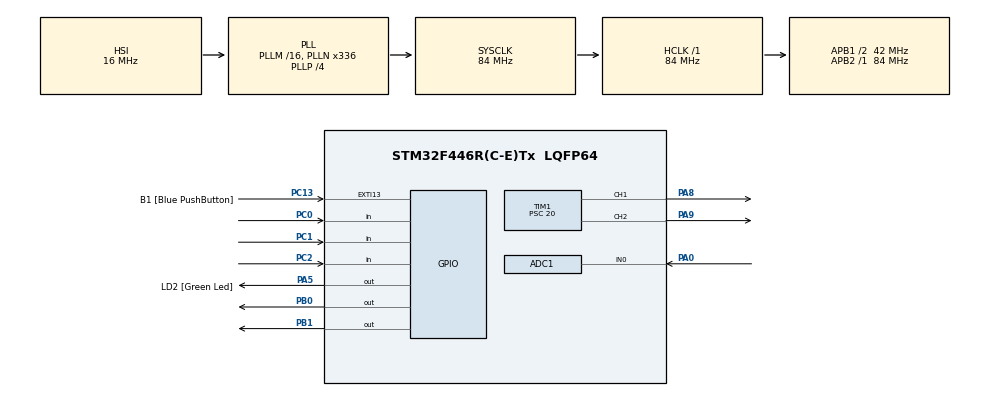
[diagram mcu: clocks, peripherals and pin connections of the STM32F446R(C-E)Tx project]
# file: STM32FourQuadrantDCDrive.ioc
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ADC1.Channel-0\#ChannelRegularConversion=ADC_CHANNEL_0
ADC1.ContinuousConvMode=ENABLE
ADC1.NbrOfConversionFlag=1
ADC1.Rank-0\#ChannelRegularConversion=1
ADC1.SamplingTime-0\#ChannelRegularConversion=ADC_SAMPLETIME_3CYCLES
ADC1.master=1
Mcu.Family=STM32F4
Mcu.Name=STM32F446R(C-E)Tx
Mcu.Package=LQFP64
NVIC.PriorityGroup=NVIC_PRIORITYGROUP_0
PA0-WKUP.Signal=ADCx_IN0
PA13.GPIO_Label=TMS
PA13.Signal=SYS_JTMS-SWDIO
PA14.GPIO_Label=TCK
PA14.Signal=SYS_JTCK-SWCLK
PA2.GPIO_Label=USART_TX
PA2.Signal=USART2_TX
PA3.GPIO_Label=USART_RX
PA3.Signal=USART2_RX
PA5.GPIO_Label=LD2 [Green Led]
PA5.Signal=GPIO_Output
PA8.Signal=S_TIM1_CH1
PA9.Signal=S_TIM1_CH2
PB0.PinState=GPIO_PIN_SET
PB0.Signal=GPIO_Output
PB1.PinState=GPIO_PIN_SET
PB1.Signal=GPIO_Output
PB3.GPIO_Label=SWO
PB3.Signal=SYS_JTDO-SWO
PC0.GPIO_PuPd=GPIO_PULLUP
PC0.Signal=GPIO_Input
PC1.GPIO_PuPd=GPIO_PULLUP
PC1.Signal=GPIO_Input
PC13.GPIO_Label=B1 [Blue PushButton]
PC13.GPIO_ModeDefaultEXTI=GPIO_MODE_IT_FALLING
PC13.Signal=GPXTI13
PC14-OSC32_IN.Signal=RCC_OSC32_IN
PC15-OSC32_OUT.Signal=RCC_OSC32_OUT
PC2.GPIO_PuPd=GPIO_PULLUP
PC2.Signal=GPIO_Input
PH0-OSC_IN.Signal=RCC_OSC_IN
PH1-OSC_OUT.Signal=RCC_OSC_OUT
ProjectManager.HeapSize=0x200
ProjectManager.StackSize=0x400
ProjectManager.TargetToolchain=STM32CubeIDE
RCC.AHBFreq_Value=84000000
RCC.APB1CLKDivider=RCC_HCLK_DIV2
RCC.APB1Freq_Value=42000000
RCC.APB1TimFreq_Value=84000000
RCC.APB2Freq_Value=84000000
RCC.APB2TimFreq_Value=84000000
RCC.CortexFreq_Value=84000000
RCC.FLatency-AdvancedSettings=FLASH_LATENCY_2
RCC.HCLKFreq_Value=84000000
RCC.HSE_VALUE=8000000
RCC.HSI_VALUE=16000000
RCC.LSE_VALUE=32768
RCC.PLLN=336
RCC.PLLP=RCC_PLLP_DIV4
RCC.SYSCLKFreq_VALUE=84000000
RCC.SYSCLKSource=RCC_SYSCLKSOURCE_PLLCLK
RCC.USBFreq_Value=168000000
RCC.VCOOutputFreq_Value=336000000
SH.ADCx_IN0.0=ADC1_IN0,IN0
SH.S_TIM1_CH1.0=TIM1_CH1,PWM Generation1 CH1
SH.S_TIM1_CH2.0=TIM1_CH2,PWM Generation2 CH2
TIM1.Channel-PWM\ Generation1\ CH1=TIM_CHANNEL_1
TIM1.Channel-PWM\ Generation2\ CH2=TIM_CHANNEL_2
TIM1.Prescaler=20
VP_TIM1_VS_ClockSourceINT.Mode=Internal
board=NUCLEO-F446RE

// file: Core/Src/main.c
/* USER CODE BEGIN Header */
/**
 ******************************************************************************
 * @file           : main.c
 * @brief          : Main program body
 ******************************************************************************
 * @attention
 *
 * Copyright (c) 2026 STMicroelectronics.
 * All rights reserved.
 *
 * This software is licensed under terms that can be found in the LICENSE file
 * in the root directory of this software component.
 * If no LICENSE file comes with this software, it is provided AS-IS.
 *
 ******************************************************************************
 */
/* USER CODE END Header */

#include "main.h"

/* USER CODE BEGIN Includes */
#include <stdbool.h>
/* USER CODE END Includes */

/* USER CODE BEGIN PTD */
typedef enum {
    STOP = 0,
    FORWARD,
    REVERSE
} Direction;
/* USER CODE END PTD */

/* USER CODE BEGIN PD */
#define DEADTIME_US      100U
#define SAFETY_DELAY     500U
#define DEBOUNCE_DELAY   200U
/* USER CODE END PD */

ADC_HandleTypeDef hadc1;
TIM_HandleTypeDef htim1;

/* USER CODE BEGIN PV */
Direction currentDir = STOP;
bool isRunning = false;

uint32_t pwmVal = 0;
uint32_t lastDebounce = 0;
/* USER CODE END PV */

void SystemClock_Config(void);
static void MX_GPIO_Init(void);
static void MX_ADC1_Init(void);
static void MX_TIM1_Init(void);

/* USER CODE BEGIN PFP */
void delay_us(uint16_t us);
uint32_t readADC(void);
void runForward(uint32_t pwm);
void runReverse(uint32_t pwm);
void stopMotor(void);
void applyBrake(void);
void loop_logic(void);
/* USER CODE END PFP */

/* USER CODE BEGIN 0 */

/* ----------- MICROSECOND DELAY ----------- */
void delay_us(uint16_t us)
{
    uint32_t start = DWT->CYCCNT;
    uint32_t ticks = us * (HAL_RCC_GetHCLKFreq() / 1000000U);

    while ((DWT->CYCCNT - start) < ticks)
    {
    }
}

/* ----------- ADC READ ----------- */
/* Reads a fresh ADC conversion (0–4095) */
uint32_t readADC(void)
{
    /* Ensure a new conversion is ready */
    HAL_ADC_PollForConversion(&hadc1, 10);
    return HAL_ADC_GetValue(&hadc1);
}

/* ----------- MOTOR FUNCTIONS ----------- */

void runForward(uint32_t pwm)
{
    /* Clamp just in case */
    if (pwm > 4095U) pwm = 4095U;

    __HAL_TIM_SET_COMPARE(&htim1, TIM_CHANNEL_2, 0U);      // INBHI LOW
    HAL_GPIO_WritePin(GPIOB, GPIO_PIN_0, GPIO_PIN_RESET);  // INALO LOW

    __HAL_TIM_SET_COMPARE(&htim1, TIM_CHANNEL_1, pwm);     // INAHI PWM
    HAL_GPIO_WritePin(GPIOB, GPIO_PIN_1, GPIO_PIN_SET);    // INBLO HIGH
}

void runReverse(uint32_t pwm)
{
    /* Clamp just in case */
    if (pwm > 4095U) pwm = 4095U;

    __HAL_TIM_SET_COMPARE(&htim1, TIM_CHANNEL_1, 0U);      // INAHI LOW
    HAL_GPIO_WritePin(GPIOB, GPIO_PIN_1, GPIO_PIN_RESET);  // INBLO LOW

    __HAL_TIM_SET_COMPARE(&htim1, TIM_CHANNEL_2, pwm);     // INBHI PWM
    HAL_GPIO_WritePin(GPIOB, GPIO_PIN_0, GPIO_PIN_SET);    // INALO HIGH
}

void stopMotor(void)
{
    __HAL_TIM_SET_COMPARE(&htim1, TIM_CHANNEL_1, 0U);
    __HAL_TIM_SET_COMPARE(&htim1, TIM_CHANNEL_2, 0U);

    HAL_GPIO_WritePin(GPIOB, GPIO_PIN_0, GPIO_PIN_RESET);
    HAL_GPIO_WritePin(GPIOB, GPIO_PIN_1, GPIO_PIN_RESET);

    delay_us(DEADTIME_US);
}

void applyBrake(void)
{
    /* Same behavior as your design: all OFF + 500 ms */
    stopMotor();
    HAL_Delay(500U);
}

/* ----------- MAIN CONTROL LOGIC ----------- */
void loop_logic(void)
{
    pwmVal = readADC();   // 0–4095 full-scale STM32 ADC

    /* -------- FORWARD BUTTON -------- */
    if ((HAL_GPIO_ReadPin(GPIOC, GPIO_PIN_0) == GPIO_PIN_RESET) &&
        ((HAL_GetTick() - lastDebounce) > DEBOUNCE_DELAY))
    {
        lastDebounce = HAL_GetTick();

        if (currentDir != FORWARD)
        {
            stopMotor();
            HAL_Delay(SAFETY_DELAY);
            currentDir = FORWARD;
            isRunning = true;
        }
        else
        {
            currentDir = STOP;
            isRunning = false;
            stopMotor();
        }
    }

    /* -------- REVERSE BUTTON -------- */
    if ((HAL_GPIO_ReadPin(GPIOC, GPIO_PIN_1) == GPIO_PIN_RESET) &&
        ((HAL_GetTick() - lastDebounce) > DEBOUNCE_DELAY))
    {
        lastDebounce = HAL_GetTick();

        if (currentDir != REVERSE)
        {
            stopMotor();
            HAL_Delay(SAFETY_DELAY);
            currentDir = REVERSE;
            isRunning = true;
        }
        else
        {
            currentDir = STOP;
            isRunning = false;
            stopMotor();
        }
    }

    /* -------- BRAKE BUTTON -------- */
    if ((HAL_GPIO_ReadPin(GPIOC, GPIO_PIN_2) == GPIO_PIN_RESET) &&
        ((HAL_GetTick() - lastDebounce) > DEBOUNCE_DELAY))
    {
        lastDebounce = HAL_GetTick();

        applyBrake();
        currentDir = STOP;
        isRunning = false;
    }

    /* -------- CONTROL -------- */
    if (isRunning)
    {
        if (currentDir == FORWARD)
        {
            runForward(pwmVal);
        }
        else if (currentDir == REVERSE)
        {
            runReverse(pwmVal);
        }
    }
    else
    {
        stopMotor();
    }
}

/* USER CODE END 0 */

int main(void)
{

    /* MCU Configuration--------------------------------------------------------*/

    /* Reset of all peripherals, Initializes the Flash interface and the Systick. */
    HAL_Init();

    /* Configure the system clock */
    SystemClock_Config();

    /* Initialize all configured peripherals */
    MX_GPIO_Init();
    MX_ADC1_Init();
    MX_TIM1_Init();

    /* USER CODE BEGIN 2 */

    /* Start PWM outputs */
    HAL_TIM_PWM_Start(&htim1, TIM_CHANNEL_1);
    HAL_TIM_PWM_Start(&htim1, TIM_CHANNEL_2);

    /* Start ADC in continuous conversion mode */
    HAL_ADC_Start(&hadc1);

    /* Enable DWT cycle counter for microsecond delay */
    CoreDebug->DEMCR |= CoreDebug_DEMCR_TRCENA_Msk;
    DWT->CYCCNT = 0U;
    DWT->CTRL |= DWT_CTRL_CYCCNTENA_Msk;

    /* Safe OFF state at startup */
    stopMotor();

    /* USER CODE END 2 */

    /* Infinite loop */
    /* USER CODE BEGIN WHILE */
    while (1)
    {
        loop_logic();
        /* USER CODE END WHILE */

    }
}

void SystemClock_Config(void)
{
    RCC_OscInitTypeDef RCC_OscInitStruct = {0};
    RCC_ClkInitTypeDef RCC_ClkInitStruct = {0};

    /** Configure the main internal regulator output voltage
     */
    __HAL_RCC_PWR_CLK_ENABLE();
    __HAL_PWR_VOLTAGESCALING_CONFIG(PWR_REGULATOR_VOLTAGE_SCALE3);

    /** Initializes the RCC Oscillators according to the specified parameters
     * in the RCC_OscInitTypeDef structure.
     */
    RCC_OscInitStruct.OscillatorType = RCC_OSCILLATORTYPE_HSI;
    RCC_OscInitStruct.HSIState = RCC_HSI_ON;
    RCC_OscInitStruct.HSICalibrationValue = RCC_HSICALIBRATION_DEFAULT;
    RCC_OscInitStruct.PLL.PLLState = RCC_PLL_ON;
    RCC_OscInitStruct.PLL.PLLSource = RCC_PLLSOURCE_HSI;
    RCC_OscInitStruct.PLL.PLLM = 16;
    RCC_OscInitStruct.PLL.PLLN = 336;
    RCC_OscInitStruct.PLL.PLLP = RCC_PLLP_DIV4;
    RCC_OscInitStruct.PLL.PLLQ = 2;
    RCC_OscInitStruct.PLL.PLLR = 2;

    if (HAL_RCC_OscConfig(&RCC_OscInitStruct) != HAL_OK)
    {
        Error_Handler();
    }

    /** Initializes the CPU, AHB and APB buses clocks
     */
    RCC_ClkInitStruct.ClockType = RCC_CLOCKTYPE_HCLK | RCC_CLOCKTYPE_SYSCLK
                                | RCC_CLOCKTYPE_PCLK1 | RCC_CLOCKTYPE_PCLK2;
    RCC_ClkInitStruct.SYSCLKSource = RCC_SYSCLKSOURCE_PLLCLK;
    RCC_ClkInitStruct.AHBCLKDivider = RCC_SYSCLK_DIV1;
    RCC_ClkInitStruct.APB1CLKDivider = RCC_HCLK_DIV2;
    RCC_ClkInitStruct.APB2CLKDivider = RCC_HCLK_DIV1;

    if (HAL_RCC_ClockConfig(&RCC_ClkInitStruct, FLASH_LATENCY_2) != HAL_OK)
    {
        Error_Handler();
    }
}

static void MX_ADC1_Init(void)
{
    ADC_ChannelConfTypeDef sConfig = {0};

    /** Configure the global features of the ADC
     */
    hadc1.Instance = ADC1;
    hadc1.Init.ClockPrescaler = ADC_CLOCK_SYNC_PCLK_DIV4;
    hadc1.Init.Resolution = ADC_RESOLUTION_12B;
    hadc1.Init.ScanConvMode = DISABLE;
    hadc1.Init.ContinuousConvMode = ENABLE;
    hadc1.Init.DiscontinuousConvMode = DISABLE;
    hadc1.Init.ExternalTrigConvEdge = ADC_EXTERNALTRIGCONVEDGE_NONE;
    hadc1.Init.ExternalTrigConv = ADC_SOFTWARE_START;
    hadc1.Init.DataAlign = ADC_DATAALIGN_RIGHT;
    hadc1.Init.NbrOfConversion = 1;
    hadc1.Init.DMAContinuousRequests = DISABLE;
    hadc1.Init.EOCSelection = ADC_EOC_SINGLE_CONV;

    if (HAL_ADC_Init(&hadc1) != HAL_OK)
    {
        Error_Handler();
    }

    /** Configure ADC regular channel
     */
    sConfig.Channel = ADC_CHANNEL_0;
    sConfig.Rank = 1;
    sConfig.SamplingTime = ADC_SAMPLETIME_15CYCLES;   // <-- Revised for pot stability

    if (HAL_ADC_ConfigChannel(&hadc1, &sConfig) != HAL_OK)
    {
        Error_Handler();
    }
}

static void MX_TIM1_Init(void)
{
    TIM_ClockConfigTypeDef sClockSourceConfig = {0};
    TIM_MasterConfigTypeDef sMasterConfig = {0};
    TIM_OC_InitTypeDef sConfigOC = {0};
    TIM_BreakDeadTimeConfigTypeDef sBreakDeadTimeConfig = {0};

    htim1.Instance = TIM1;
    htim1.Init.Prescaler = 20;              // ~1 kHz PWM with ARR = 4095
    htim1.Init.CounterMode = TIM_COUNTERMODE_UP;
    htim1.Init.Period = 4095;               // 12-bit PWM resolution
    htim1.Init.ClockDivision = TIM_CLOCKDIVISION_DIV1;
    htim1.Init.RepetitionCounter = 0;
    htim1.Init.AutoReloadPreload = TIM_AUTORELOAD_PRELOAD_DISABLE;

    if (HAL_TIM_Base_Init(&htim1) != HAL_OK)
    {
        Error_Handler();
    }

    sClockSourceConfig.ClockSource = TIM_CLOCKSOURCE_INTERNAL;
    if (HAL_TIM_ConfigClockSource(&htim1, &sClockSourceConfig) != HAL_OK)
    {
        Error_Handler();
    }

    if (HAL_TIM_PWM_Init(&htim1) != HAL_OK)
    {
        Error_Handler();
    }

    sMasterConfig.MasterOutputTrigger = TIM_TRGO_RESET;
    sMasterConfig.MasterSlaveMode = TIM_MASTERSLAVEMODE_DISABLE;
    if (HAL_TIMEx_MasterConfigSynchronization(&htim1, &sMasterConfig) != HAL_OK)
    {
        Error_Handler();
    }

    sConfigOC.OCMode = TIM_OCMODE_PWM1;
    sConfigOC.Pulse = 0U;
    sConfigOC.OCPolarity = TIM_OCPOLARITY_HIGH;
    sConfigOC.OCNPolarity = TIM_OCNPOLARITY_HIGH;
    sConfigOC.OCFastMode = TIM_OCFAST_DISABLE;
    sConfigOC.OCIdleState = TIM_OCIDLESTATE_RESET;
    sConfigOC.OCNIdleState = TIM_OCNIDLESTATE_RESET;

    if (HAL_TIM_PWM_ConfigChannel(&htim1, &sConfigOC, TIM_CHANNEL_1) != HAL_OK)
    {
        Error_Handler();
    }

    if (HAL_TIM_PWM_ConfigChannel(&htim1, &sConfigOC, TIM_CHANNEL_2) != HAL_OK)
    {
        Error_Handler();
    }

    /* We are using software dead-time, not hardware complementary mode */
    sBreakDeadTimeConfig.OffStateRunMode = TIM_OSSR_DISABLE;
    sBreakDeadTimeConfig.OffStateIDLEMode = TIM_OSSI_DISABLE;
    sBreakDeadTimeConfig.LockLevel = TIM_LOCKLEVEL_OFF;
    sBreakDeadTimeConfig.DeadTime = 0U;
    sBreakDeadTimeConfig.BreakState = TIM_BREAK_DISABLE;
    sBreakDeadTimeConfig.BreakPolarity = TIM_BREAKPOLARITY_HIGH;
    sBreakDeadTimeConfig.AutomaticOutput = TIM_AUTOMATICOUTPUT_DISABLE;

    if (HAL_TIMEx_ConfigBreakDeadTime(&htim1, &sBreakDeadTimeConfig) != HAL_OK)
    {
        Error_Handler();
    }

    HAL_TIM_MspPostInit(&htim1);
}

static void MX_GPIO_Init(void)
{
    GPIO_InitTypeDef GPIO_InitStruct = {0};

    /* GPIO Ports Clock Enable */
    __HAL_RCC_GPIOC_CLK_ENABLE();
    __HAL_RCC_GPIOH_CLK_ENABLE();
    __HAL_RCC_GPIOA_CLK_ENABLE();
    __HAL_RCC_GPIOB_CLK_ENABLE();

    /* Safe startup states */
    HAL_GPIO_WritePin(LD2_GPIO_Port, LD2_Pin, GPIO_PIN_RESET);
    HAL_GPIO_WritePin(GPIOB, GPIO_PIN_0 | GPIO_PIN_1, GPIO_PIN_RESET);

    /* USER button (board button) */
    GPIO_InitStruct.Pin = B1_Pin;
    GPIO_InitStruct.Mode = GPIO_MODE_IT_FALLING;
    GPIO_InitStruct.Pull = GPIO_NOPULL;
    HAL_GPIO_Init(B1_GPIO_Port, &GPIO_InitStruct);

    /* PC0, PC1, PC2 as input pull-up buttons */
    GPIO_InitStruct.Pin = GPIO_PIN_0 | GPIO_PIN_1 | GPIO_PIN_2;
    GPIO_InitStruct.Mode = GPIO_MODE_INPUT;
    GPIO_InitStruct.Pull = GPIO_PULLUP;
    HAL_GPIO_Init(GPIOC, &GPIO_InitStruct);

    /* USART2 pins */
    GPIO_InitStruct.Pin = USART_TX_Pin | USART_RX_Pin;
    GPIO_InitStruct.Mode = GPIO_MODE_AF_PP;
    GPIO_InitStruct.Pull = GPIO_NOPULL;
    GPIO_InitStruct.Speed = GPIO_SPEED_FREQ_VERY_HIGH;
    GPIO_InitStruct.Alternate = GPIO_AF7_USART2;
    HAL_GPIO_Init(GPIOA, &GPIO_InitStruct);

    /* LD2 LED */
    GPIO_InitStruct.Pin = LD2_Pin;
    GPIO_InitStruct.Mode = GPIO_MODE_OUTPUT_PP;
    GPIO_InitStruct.Pull = GPIO_NOPULL;
    GPIO_InitStruct.Speed = GPIO_SPEED_FREQ_LOW;
    HAL_GPIO_Init(LD2_GPIO_Port, &GPIO_InitStruct);

    /* PB0, PB1 as low-side digital outputs */
    GPIO_InitStruct.Pin = GPIO_PIN_0 | GPIO_PIN_1;
    GPIO_InitStruct.Mode = GPIO_MODE_OUTPUT_PP;
    GPIO_InitStruct.Pull = GPIO_NOPULL;
    GPIO_InitStruct.Speed = GPIO_SPEED_FREQ_LOW;
    HAL_GPIO_Init(GPIOB, &GPIO_InitStruct);
}

void Error_Handler(void)
{
    /* USER CODE BEGIN Error_Handler_Debug */
    __disable_irq();

    /* Safe shutdown */
    __HAL_TIM_SET_COMPARE(&htim1, TIM_CHANNEL_1, 0U);
    __HAL_TIM_SET_COMPARE(&htim1, TIM_CHANNEL_2, 0U);
    HAL_GPIO_WritePin(GPIOB, GPIO_PIN_0, GPIO_PIN_RESET);
    HAL_GPIO_WritePin(GPIOB, GPIO_PIN_1, GPIO_PIN_RESET);

    while (1)
    {
    }
    /* USER CODE END Error_Handler_Debug */
}

#ifdef USE_FULL_ASSERT
/**
  * @brief  Reports the name of the source file and the source line number
  *         where the assert_param error has occurred.
  * @param  file: pointer to the source file name
  * @param  line: assert_param error line source number
  * @retval None
  */
void assert_failed(uint8_t *file, uint32_t line)
{
    /* USER CODE BEGIN 6 */
    /* User can add implementation here */
    /* USER CODE END 6 */
}
#endif /* USE_FULL_ASSERT */
